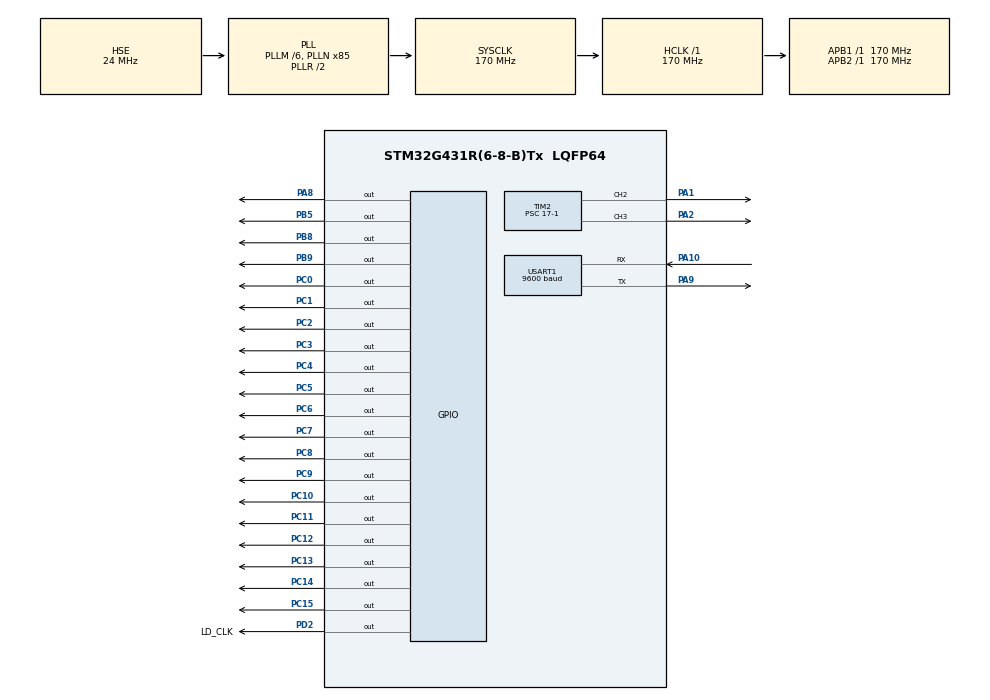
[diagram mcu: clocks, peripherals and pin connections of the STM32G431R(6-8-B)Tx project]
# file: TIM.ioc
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Mcu.Family=STM32G4
Mcu.Name=STM32G431R(6-8-B)Tx
Mcu.Package=LQFP64
NVIC.PriorityGroup=NVIC_PRIORITYGROUP_4
NVIC.TIM2_IRQn=true\:0\:0\:false\:false\:true\:true\:true
NVIC.USART1_IRQn=true\:0\:0\:false\:false\:true\:true\:true
PA1.GPIO_Speed=GPIO_SPEED_FREQ_VERY_HIGH
PA1.Signal=S_TIM2_CH2
PA10.Mode=Asynchronous
PA10.Signal=USART1_RX
PA2.Signal=S_TIM2_CH3
PA8.Signal=GPIO_Output
PA9.Mode=Asynchronous
PA9.Signal=USART1_TX
PB5.Signal=GPIO_Output
PB8-BOOT0.Signal=GPIO_Output
PB9.Signal=GPIO_Output
PC0.Signal=GPIO_Output
PC1.Signal=GPIO_Output
PC10.Signal=GPIO_Output
PC11.Signal=GPIO_Output
PC12.Signal=GPIO_Output
PC13.Signal=GPIO_Output
PC14-OSC32_IN.Signal=GPIO_Output
PC15-OSC32_OUT.Signal=GPIO_Output
PC2.Signal=GPIO_Output
PC3.Signal=GPIO_Output
PC4.Signal=GPIO_Output
PC5.Signal=GPIO_Output
PC6.Signal=GPIO_Output
PC7.Signal=GPIO_Output
PC8.Signal=GPIO_Output
PC9.Signal=GPIO_Output
PD2.GPIO_Label=LD_CLK
PD2.Signal=GPIO_Output
PF0-OSC_IN.Mode=HSE-External-Oscillator
PF0-OSC_IN.Signal=RCC_OSC_IN
PF1-OSC_OUT.Mode=HSE-External-Oscillator
PF1-OSC_OUT.Signal=RCC_OSC_OUT
ProjectManager.HeapSize=0x200
ProjectManager.StackSize=0x400
ProjectManager.TargetToolchain=MDK-ARM V5.27
RCC.ADC12Freq_Value=170000000
RCC.AHBFreq_Value=170000000
RCC.APB1Freq_Value=170000000
RCC.APB1TimFreq_Value=170000000
RCC.APB2Freq_Value=170000000
RCC.APB2TimFreq_Value=170000000
RCC.CortexFreq_Value=170000000
RCC.EXTERNAL_CLOCK_VALUE=12288000
RCC.HCLKFreq_Value=170000000
RCC.HSE_VALUE=24000000
RCC.HSI48_VALUE=48000000
RCC.HSI_VALUE=16000000
RCC.LSE_VALUE=32768
RCC.PLLM=RCC_PLLM_DIV6
RCC.PLLN=85
RCC.PLLSourceVirtual=RCC_PLLSOURCE_HSE
RCC.SYSCLKFreq_VALUE=170000000
RCC.SYSCLKSource=RCC_SYSCLKSOURCE_PLLCLK
RCC.USBFreq_Value=170000000
RCC.VCOOutputFreq_Value=340000000
SH.S_TIM2_CH2.0=TIM2_CH2,Output Compare2 CH2
SH.S_TIM2_CH3.0=TIM2_CH3,Output Compare3 CH3
TIM2.Channel-Output\ Compare2\ CH2=TIM_CHANNEL_2
TIM2.Channel-Output\ Compare3\ CH3=TIM_CHANNEL_3
TIM2.OCMode_2=TIM_OCMODE_TOGGLE
TIM2.OCMode_3=TIM_OCMODE_TOGGLE
TIM2.PeriodNoDither=0xffffffff
TIM2.Prescaler=17-1
TIM2.PulseNoDither_2=2
USART1.BaudRate=9600
USART1.VirtualMode-Asynchronous=VM_ASYNC
VP_SYS_VS_DBSignals.Mode=DisableDeadBatterySignals
VP_TIM2_VS_ClockSourceINT.Mode=Internal
board=custom

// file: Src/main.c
/* USER CODE BEGIN Header */
/**
  ******************************************************************************
  * @file           : main.c
  * @brief          : Main program body
  ******************************************************************************
  * @attention
  *
  * <h2><center>&copy; Copyright (c) 2021 STMicroelectronics.
  * All rights reserved.</center></h2>
  *
  * This software component is licensed by ST under BSD 3-Clause license,
  * the "License"; You may not use this file except in compliance with the
  * License. You may obtain a copy of the License at:
  *                        opensource.org/licenses/BSD-3-Clause
  *
  ******************************************************************************
  */
/* USER CODE END Header */
#include "main.h"

/* USER CODE BEGIN Includes */
#include <stdio.h>
#include "lcd.h"
/* USER CODE END Includes */

TIM_HandleTypeDef htim2;

UART_HandleTypeDef huart1;

/* USER CODE BEGIN PV */
uint16_t Time_Val;
_Bool Flag;
uint32_t tim3_ch1_ccr = 10000;//1000 - 10k 10000 - 1k
uint32_t tim3_ch1_pulse = 200;
uint32_t tim3_ch2_ccr = 2000;//2000 - 5k
uint32_t tim3_ch2_pulse = 1000;
/* USER CODE END PV */

void SystemClock_Config(void);
static void MX_GPIO_Init(void);
static void MX_USART1_UART_Init(void);
static void MX_TIM2_Init(void);

/* USER CODE BEGIN 0 */
int fputc(int ch, FILE *f)
{
	HAL_UART_Transmit(&huart1, (uint8_t *)&ch, 1, HAL_MAX_DELAY);
	return ch;
}

/* USER CODE END 0 */

int main(void)
{

  /* MCU Configuration--------------------------------------------------------*/

  /* Reset of all peripherals, Initializes the Flash interface and the Systick. */
  HAL_Init();

  /* Configure the system clock */
  SystemClock_Config();

  /* Initialize all configured peripherals */
  MX_GPIO_Init();
  MX_USART1_UART_Init();
  MX_TIM2_Init();
  /* USER CODE BEGIN 2 */
	LCD_Init();
	LCD_Clear(White);
	LCD_SetBackColor(White);
	LCD_SetTextColor(Black);
	HAL_TIM_OC_Start_IT(&htim2, TIM_CHANNEL_2);
	HAL_TIM_OC_Start_IT(&htim2, TIM_CHANNEL_3);
  /* USER CODE END 2 */

  /* Infinite loop */
  /* USER CODE BEGIN WHILE */
  while (1)
  {
		//Display_Proc();
    /* USER CODE END WHILE */

  }
}

void SystemClock_Config(void)
{
  RCC_OscInitTypeDef RCC_OscInitStruct = {0};
  RCC_ClkInitTypeDef RCC_ClkInitStruct = {0};
  RCC_PeriphCLKInitTypeDef PeriphClkInit = {0};

  /** Configure the main internal regulator output voltage
  */
  HAL_PWREx_ControlVoltageScaling(PWR_REGULATOR_VOLTAGE_SCALE1_BOOST);
  /** Initializes the RCC Oscillators according to the specified parameters
  * in the RCC_OscInitTypeDef structure.
  */
  RCC_OscInitStruct.OscillatorType = RCC_OSCILLATORTYPE_HSE;
  RCC_OscInitStruct.HSEState = RCC_HSE_ON;
  RCC_OscInitStruct.PLL.PLLState = RCC_PLL_ON;
  RCC_OscInitStruct.PLL.PLLSource = RCC_PLLSOURCE_HSE;
  RCC_OscInitStruct.PLL.PLLM = RCC_PLLM_DIV6;
  RCC_OscInitStruct.PLL.PLLN = 85;
  RCC_OscInitStruct.PLL.PLLP = RCC_PLLP_DIV2;
  RCC_OscInitStruct.PLL.PLLQ = RCC_PLLQ_DIV2;
  RCC_OscInitStruct.PLL.PLLR = RCC_PLLR_DIV2;
  if (HAL_RCC_OscConfig(&RCC_OscInitStruct) != HAL_OK)
  {
    Error_Handler();
  }
  /** Initializes the CPU, AHB and APB buses clocks
  */
  RCC_ClkInitStruct.ClockType = RCC_CLOCKTYPE_HCLK|RCC_CLOCKTYPE_SYSCLK
                              |RCC_CLOCKTYPE_PCLK1|RCC_CLOCKTYPE_PCLK2;
  RCC_ClkInitStruct.SYSCLKSource = RCC_SYSCLKSOURCE_PLLCLK;
  RCC_ClkInitStruct.AHBCLKDivider = RCC_SYSCLK_DIV1;
  RCC_ClkInitStruct.APB1CLKDivider = RCC_HCLK_DIV1;
  RCC_ClkInitStruct.APB2CLKDivider = RCC_HCLK_DIV1;

  if (HAL_RCC_ClockConfig(&RCC_ClkInitStruct, FLASH_LATENCY_4) != HAL_OK)
  {
    Error_Handler();
  }
  /** Initializes the peripherals clocks
  */
  PeriphClkInit.PeriphClockSelection = RCC_PERIPHCLK_USART1;
  PeriphClkInit.Usart1ClockSelection = RCC_USART1CLKSOURCE_PCLK2;
  if (HAL_RCCEx_PeriphCLKConfig(&PeriphClkInit) != HAL_OK)
  {
    Error_Handler();
  }
}

static void MX_TIM2_Init(void)
{

  TIM_ClockConfigTypeDef sClockSourceConfig = {0};
  TIM_MasterConfigTypeDef sMasterConfig = {0};
  TIM_OC_InitTypeDef sConfigOC = {0};

  htim2.Instance = TIM2;
  htim2.Init.Prescaler = 17-1;
  htim2.Init.CounterMode = TIM_COUNTERMODE_UP;
  htim2.Init.Period = 65535;
  htim2.Init.ClockDivision = TIM_CLOCKDIVISION_DIV1;
  htim2.Init.AutoReloadPreload = TIM_AUTORELOAD_PRELOAD_DISABLE;
  if (HAL_TIM_Base_Init(&htim2) != HAL_OK)
  {
    Error_Handler();
  }
  sClockSourceConfig.ClockSource = TIM_CLOCKSOURCE_INTERNAL;
  if (HAL_TIM_ConfigClockSource(&htim2, &sClockSourceConfig) != HAL_OK)
  {
    Error_Handler();
  }
  if (HAL_TIM_OC_Init(&htim2) != HAL_OK)
  {
    Error_Handler();
  }
  sMasterConfig.MasterOutputTrigger = TIM_TRGO_RESET;
  sMasterConfig.MasterSlaveMode = TIM_MASTERSLAVEMODE_DISABLE;
  if (HAL_TIMEx_MasterConfigSynchronization(&htim2, &sMasterConfig) != HAL_OK)
  {
    Error_Handler();
  }
  sConfigOC.OCMode = TIM_OCMODE_TOGGLE;
  sConfigOC.Pulse = 2;
  sConfigOC.OCPolarity = TIM_OCPOLARITY_HIGH;
  sConfigOC.OCFastMode = TIM_OCFAST_DISABLE;
  if (HAL_TIM_OC_ConfigChannel(&htim2, &sConfigOC, TIM_CHANNEL_2) != HAL_OK)
  {
    Error_Handler();
  }
  sConfigOC.Pulse = 0;
  if (HAL_TIM_OC_ConfigChannel(&htim2, &sConfigOC, TIM_CHANNEL_3) != HAL_OK)
  {
    Error_Handler();
  }
  HAL_TIM_MspPostInit(&htim2);

}

static void MX_USART1_UART_Init(void)
{

  huart1.Instance = USART1;
  huart1.Init.BaudRate = 9600;
  huart1.Init.WordLength = UART_WORDLENGTH_8B;
  huart1.Init.StopBits = UART_STOPBITS_1;
  huart1.Init.Parity = UART_PARITY_NONE;
  huart1.Init.Mode = UART_MODE_TX_RX;
  huart1.Init.HwFlowCtl = UART_HWCONTROL_NONE;
  huart1.Init.OverSampling = UART_OVERSAMPLING_16;
  huart1.Init.OneBitSampling = UART_ONE_BIT_SAMPLE_DISABLE;
  huart1.Init.ClockPrescaler = UART_PRESCALER_DIV1;
  huart1.AdvancedInit.AdvFeatureInit = UART_ADVFEATURE_NO_INIT;
  if (HAL_UART_Init(&huart1) != HAL_OK)
  {
    Error_Handler();
  }
  if (HAL_UARTEx_SetTxFifoThreshold(&huart1, UART_TXFIFO_THRESHOLD_1_8) != HAL_OK)
  {
    Error_Handler();
  }
  if (HAL_UARTEx_SetRxFifoThreshold(&huart1, UART_RXFIFO_THRESHOLD_1_8) != HAL_OK)
  {
    Error_Handler();
  }
  if (HAL_UARTEx_DisableFifoMode(&huart1) != HAL_OK)
  {
    Error_Handler();
  }

}

static void MX_GPIO_Init(void)
{
  GPIO_InitTypeDef GPIO_InitStruct = {0};

  /* GPIO Ports Clock Enable */
  __HAL_RCC_GPIOC_CLK_ENABLE();
  __HAL_RCC_GPIOF_CLK_ENABLE();
  __HAL_RCC_GPIOA_CLK_ENABLE();
  __HAL_RCC_GPIOD_CLK_ENABLE();
  __HAL_RCC_GPIOB_CLK_ENABLE();

  /*Configure GPIO pin Output Level */
  HAL_GPIO_WritePin(GPIOC, GPIO_PIN_13|GPIO_PIN_14|GPIO_PIN_15|GPIO_PIN_0
                          |GPIO_PIN_1|GPIO_PIN_2|GPIO_PIN_3|GPIO_PIN_4
                          |GPIO_PIN_5|GPIO_PIN_6|GPIO_PIN_7|GPIO_PIN_8
                          |GPIO_PIN_9|GPIO_PIN_10|GPIO_PIN_11|GPIO_PIN_12, GPIO_PIN_RESET);

  /*Configure GPIO pin Output Level */
  HAL_GPIO_WritePin(GPIOA, GPIO_PIN_8, GPIO_PIN_RESET);

  /*Configure GPIO pin Output Level */
  HAL_GPIO_WritePin(LD_CLK_GPIO_Port, LD_CLK_Pin, GPIO_PIN_RESET);

  /*Configure GPIO pin Output Level */
  HAL_GPIO_WritePin(GPIOB, GPIO_PIN_5|GPIO_PIN_8|GPIO_PIN_9, GPIO_PIN_RESET);

  /*Configure GPIO pins : PC13 PC14 PC15 PC0
                           PC1 PC2 PC3 PC4
                           PC5 PC6 PC7 PC8
                           PC9 PC10 PC11 PC12 */
  GPIO_InitStruct.Pin = GPIO_PIN_13|GPIO_PIN_14|GPIO_PIN_15|GPIO_PIN_0
                          |GPIO_PIN_1|GPIO_PIN_2|GPIO_PIN_3|GPIO_PIN_4
                          |GPIO_PIN_5|GPIO_PIN_6|GPIO_PIN_7|GPIO_PIN_8
                          |GPIO_PIN_9|GPIO_PIN_10|GPIO_PIN_11|GPIO_PIN_12;
  GPIO_InitStruct.Mode = GPIO_MODE_OUTPUT_PP;
  GPIO_InitStruct.Pull = GPIO_NOPULL;
  GPIO_InitStruct.Speed = GPIO_SPEED_FREQ_LOW;
  HAL_GPIO_Init(GPIOC, &GPIO_InitStruct);

  /*Configure GPIO pin : PA8 */
  GPIO_InitStruct.Pin = GPIO_PIN_8;
  GPIO_InitStruct.Mode = GPIO_MODE_OUTPUT_PP;
  GPIO_InitStruct.Pull = GPIO_NOPULL;
  GPIO_InitStruct.Speed = GPIO_SPEED_FREQ_LOW;
  HAL_GPIO_Init(GPIOA, &GPIO_InitStruct);

  /*Configure GPIO pin : LD_CLK_Pin */
  GPIO_InitStruct.Pin = LD_CLK_Pin;
  GPIO_InitStruct.Mode = GPIO_MODE_OUTPUT_PP;
  GPIO_InitStruct.Pull = GPIO_NOPULL;
  GPIO_InitStruct.Speed = GPIO_SPEED_FREQ_LOW;
  HAL_GPIO_Init(LD_CLK_GPIO_Port, &GPIO_InitStruct);

  /*Configure GPIO pins : PB5 PB8 PB9 */
  GPIO_InitStruct.Pin = GPIO_PIN_5|GPIO_PIN_8|GPIO_PIN_9;
  GPIO_InitStruct.Mode = GPIO_MODE_OUTPUT_PP;
  GPIO_InitStruct.Pull = GPIO_NOPULL;
  GPIO_InitStruct.Speed = GPIO_SPEED_FREQ_LOW;
  HAL_GPIO_Init(GPIOB, &GPIO_InitStruct);

}

/* USER CODE BEGIN 4 */
void HAL_TIM_PWM_PulseFinishedCallback(TIM_HandleTypeDef *htim)
{
	static uint8_t cc1_flag = 0;
	static uint8_t cc2_flag = 0;
	uint16_t capture = 0;
	if(htim->Channel == HAL_TIM_ACTIVE_CHANNEL_2)
	{
		capture = HAL_TIM_ReadCapturedValue(&htim2, TIM_CHANNEL_2);
		if(cc1_flag)
		{
			__HAL_TIM_SET_COMPARE(&htim2, TIM_CHANNEL_2, capture + tim3_ch1_ccr - tim3_ch1_pulse);
		}else{
			__HAL_TIM_SET_COMPARE(&htim2, TIM_CHANNEL_2, capture + tim3_ch1_pulse);
		}
		cc1_flag = !cc1_flag;
	}
	if(htim->Channel == HAL_TIM_ACTIVE_CHANNEL_3)
	{
		capture = HAL_TIM_ReadCapturedValue(&htim2, TIM_CHANNEL_3);
		if(cc2_flag)
		{
			__HAL_TIM_SET_COMPARE(&htim2, TIM_CHANNEL_3, capture + tim3_ch2_ccr - tim3_ch2_pulse);
		}else{
			__HAL_TIM_SET_COMPARE(&htim2, TIM_CHANNEL_3, capture + tim3_ch2_pulse);
		}
		cc2_flag = !cc2_flag;
	}

	HAL_TIM_OC_Start_IT(&htim2, TIM_CHANNEL_2);
	HAL_TIM_OC_Start_IT(&htim2, TIM_CHANNEL_3);

}
/* USER CODE END 4 */

void Error_Handler(void)
{
  __disable_irq();
  while (1)
  {
  }
}

/************************ (C) COPYRIGHT STMicroelectronics *****END OF FILE****/
